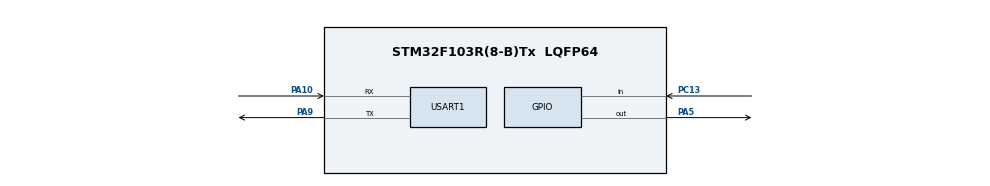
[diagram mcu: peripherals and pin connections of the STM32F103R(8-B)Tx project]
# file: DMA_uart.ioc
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Dma.Request0=USART1_RX
Dma.USART1_RX.0.Direction=DMA_PERIPH_TO_MEMORY
Dma.USART1_RX.0.Instance=DMA1_Channel5
Dma.USART1_RX.0.MemDataAlignment=DMA_MDATAALIGN_BYTE
Dma.USART1_RX.0.MemInc=DMA_MINC_ENABLE
Dma.USART1_RX.0.Mode=DMA_NORMAL
Dma.USART1_RX.0.PeriphDataAlignment=DMA_PDATAALIGN_BYTE
Dma.USART1_RX.0.PeriphInc=DMA_PINC_DISABLE
Dma.USART1_RX.0.Priority=DMA_PRIORITY_LOW
Mcu.Family=STM32F1
Mcu.Name=STM32F103R(8-B)Tx
Mcu.Package=LQFP64
NVIC.DMA1_Channel5_IRQn=true\:0\:0\:false\:false\:true\:false\:true\:true
NVIC.PriorityGroup=NVIC_PRIORITYGROUP_4
NVIC.USART1_IRQn=true\:0\:0\:false\:false\:true\:true\:true\:true
PA10.Mode=Asynchronous
PA10.Signal=USART1_RX
PA13.Mode=Serial_Wire
PA13.Signal=SYS_JTMS-SWDIO
PA14.Mode=Serial_Wire
PA14.Signal=SYS_JTCK-SWCLK
PA5.Signal=GPIO_Output
PA9.Mode=Asynchronous
PA9.Signal=USART1_TX
PC13-TAMPER-RTC.GPIO_PuPd=GPIO_PULLUP
PC13-TAMPER-RTC.Signal=GPIO_Input
ProjectManager.HeapSize=0x200
ProjectManager.StackSize=0x400
ProjectManager.TargetToolchain=STM32CubeIDE
RCC.APB1Freq_Value=8000000
RCC.APB2Freq_Value=8000000
USART1.VirtualMode=VM_ASYNC
board=custom

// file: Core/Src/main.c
/* USER CODE BEGIN Header */
/**
  ******************************************************************************
  * @file           : main.c
  * @brief          : Main program body
  ******************************************************************************
  * @attention
  *
  * Copyright (c) 2023 STMicroelectronics.
  * All rights reserved.
  *
  * This software is licensed under terms that can be found in the LICENSE file
  * in the root directory of this software component.
  * If no LICENSE file comes with this software, it is provided AS-IS.
  *
  ******************************************************************************
  */
/* USER CODE END Header */
#include "main.h"

/* USER CODE BEGIN Includes */
#include "string.h"
/* USER CODE END Includes */

/* USER CODE BEGIN PTD */
#define RX_BUFF 30
/* USER CODE END PTD */

UART_HandleTypeDef huart1;
DMA_HandleTypeDef hdma_usart1_rx;

void SystemClock_Config(void);
static void MX_GPIO_Init(void);
static void MX_DMA_Init(void);
static void MX_USART1_UART_Init(void);

/* USER CODE BEGIN 0 */
uint8_t TxData[RX_BUFF];
uint8_t RxData[RX_BUFF];

uint8_t User[RX_BUFF];

uint8_t checkDT = 0;
uint8_t start = 0;

//void SaveUser(uint8_t* rx, size_t sz)
//{
//	memset(User, 0, sz);
//	for(uint8_t i = 0; i < sz ; i++)
//	{
//		User[i] = rx[i];
//	}
////	memcpy(User , rx, sz);
//	memset(rx, 0, sz);
//}

void HAL_UARTEx_RxEventCallback(UART_HandleTypeDef *huart, uint16_t Size)
{
	if(huart->Instance == USART1)
	{
//		memset(RxData, 0, RX_BUFF);
		HAL_UARTEx_ReceiveToIdle_DMA(&huart1, RxData, RX_BUFF);

	}
}
//void HAL_UART_RxCpltCallback(UART_HandleTypeDef *huart)
//{
//	if(huart->Instance == USART1)
//	{
////		memset(RxData, 0, RX_BUFF);
////		HAL_UART_DMAStop(&huart1);
////		HAL_UART_Receive_DMA(&huart1, RxData, RX_BUFF);
//		HAL_UARTEx_ReceiveToIdle_DMA(&huart1, RxData, RX_BUFF);
//	}
//}

/* SEND DATA TO SWITCH PAGE WHEN USER AND PASS IS CORRECT */
void SW_page()
{
	TxData[0] = 0x5A;
	TxData[1] = 0xA5;
	TxData[2] = 0x07;
	TxData[3] = 0x82;
	TxData[4] = 0x00;
	TxData[5] = 0x84;
	TxData[6] = 0x5A;
	TxData[7] = 0x01;
	TxData[8] = 0x00;
	TxData[9] = 0x03;
	HAL_UART_Transmit(&huart1, TxData, sizeof(TxData), 500);
	memset(TxData, 0, sizeof(TxData));
}

uint8_t checkData(const uint8_t* arr, size_t arrSize, const char* strfind, size_t strSize)
{

	for(uint8_t i = 0; i <= arrSize - 1; i++)
	{
		if(memcmp(&arr[i], strfind, strSize) == 0)
		{
			return 1;
		}
	}
		return 0;
}
/* USER CODE END 0 */

int main(void)
{

  /* MCU Configuration--------------------------------------------------------*/

  /* Reset of all peripherals, Initializes the Flash interface and the Systick. */
  HAL_Init();

  /* Configure the system clock */
  SystemClock_Config();

  /* Initialize all configured peripherals */
  MX_GPIO_Init();
  MX_DMA_Init();
  MX_USART1_UART_Init();
  /* USER CODE BEGIN 2 */
//void RVandCheckDT()
//  {
//	  memset(RxData, 0, RX_BUFF);
//	  RxData[0] = huart1.Instance->DR; // free rx buf
//	  HAL_UART_Receive_DMA(&huart1, RxData, RX_BUFF);
//	  HAL_UART_DMAStop(&huart1);
//  }
  HAL_UARTEx_ReceiveToIdle_DMA(&huart1, RxData, RX_BUFF);
  __HAL_DMA_DISABLE_IT(&hdma_usart1_rx, DMA_IT_HT);
  /* USER CODE END 2 */

  /* Infinite loop */
  /* USER CODE BEGIN WHILE */
  while (1)
  {
	  if(checkData(RxData, sizeof(RxData), "root", 4))
	  {
		  checkDT = 1;
	  }
	  if(checkData(RxData, sizeof(RxData), "1234", 4) && checkDT == 1)
	  {
		  SW_page();
		  checkDT = 0;
	  }
	  /* USER CODE END WHILE */

  }
}

void SystemClock_Config(void)
{
  RCC_OscInitTypeDef RCC_OscInitStruct = {0};
  RCC_ClkInitTypeDef RCC_ClkInitStruct = {0};

  /** Initializes the RCC Oscillators according to the specified parameters
  * in the RCC_OscInitTypeDef structure.
  */
  RCC_OscInitStruct.OscillatorType = RCC_OSCILLATORTYPE_HSI;
  RCC_OscInitStruct.HSIState = RCC_HSI_ON;
  RCC_OscInitStruct.HSICalibrationValue = RCC_HSICALIBRATION_DEFAULT;
  RCC_OscInitStruct.PLL.PLLState = RCC_PLL_NONE;
  if (HAL_RCC_OscConfig(&RCC_OscInitStruct) != HAL_OK)
  {
    Error_Handler();
  }

  /** Initializes the CPU, AHB and APB buses clocks
  */
  RCC_ClkInitStruct.ClockType = RCC_CLOCKTYPE_HCLK|RCC_CLOCKTYPE_SYSCLK
                              |RCC_CLOCKTYPE_PCLK1|RCC_CLOCKTYPE_PCLK2;
  RCC_ClkInitStruct.SYSCLKSource = RCC_SYSCLKSOURCE_HSI;
  RCC_ClkInitStruct.AHBCLKDivider = RCC_SYSCLK_DIV1;
  RCC_ClkInitStruct.APB1CLKDivider = RCC_HCLK_DIV1;
  RCC_ClkInitStruct.APB2CLKDivider = RCC_HCLK_DIV1;

  if (HAL_RCC_ClockConfig(&RCC_ClkInitStruct, FLASH_LATENCY_0) != HAL_OK)
  {
    Error_Handler();
  }
}

static void MX_USART1_UART_Init(void)
{

  huart1.Instance = USART1;
  huart1.Init.BaudRate = 115200;
  huart1.Init.WordLength = UART_WORDLENGTH_8B;
  huart1.Init.StopBits = UART_STOPBITS_1;
  huart1.Init.Parity = UART_PARITY_NONE;
  huart1.Init.Mode = UART_MODE_TX_RX;
  huart1.Init.HwFlowCtl = UART_HWCONTROL_NONE;
  huart1.Init.OverSampling = UART_OVERSAMPLING_16;
  if (HAL_UART_Init(&huart1) != HAL_OK)
  {
    Error_Handler();
  }

}

static void MX_DMA_Init(void)
{

  /* DMA controller clock enable */
  __HAL_RCC_DMA1_CLK_ENABLE();

  /* DMA interrupt init */
  /* DMA1_Channel5_IRQn interrupt configuration */
  HAL_NVIC_SetPriority(DMA1_Channel5_IRQn, 0, 0);
  HAL_NVIC_EnableIRQ(DMA1_Channel5_IRQn);

}

static void MX_GPIO_Init(void)
{
  GPIO_InitTypeDef GPIO_InitStruct = {0};

  /* GPIO Ports Clock Enable */
  __HAL_RCC_GPIOC_CLK_ENABLE();
  __HAL_RCC_GPIOA_CLK_ENABLE();

  /*Configure GPIO pin Output Level */
  HAL_GPIO_WritePin(GPIOA, GPIO_PIN_5, GPIO_PIN_RESET);

  /*Configure GPIO pin : PC13 */
  GPIO_InitStruct.Pin = GPIO_PIN_13;
  GPIO_InitStruct.Mode = GPIO_MODE_INPUT;
  GPIO_InitStruct.Pull = GPIO_PULLUP;
  HAL_GPIO_Init(GPIOC, &GPIO_InitStruct);

  /*Configure GPIO pin : PA5 */
  GPIO_InitStruct.Pin = GPIO_PIN_5;
  GPIO_InitStruct.Mode = GPIO_MODE_OUTPUT_PP;
  GPIO_InitStruct.Pull = GPIO_NOPULL;
  GPIO_InitStruct.Speed = GPIO_SPEED_FREQ_LOW;
  HAL_GPIO_Init(GPIOA, &GPIO_InitStruct);

}

void Error_Handler(void)
{
  __disable_irq();
  while (1)
  {
  }
}
